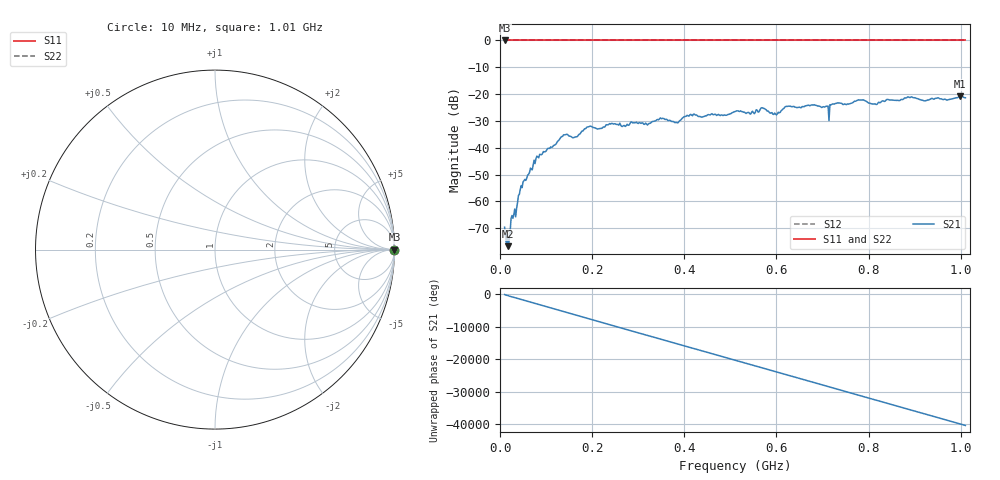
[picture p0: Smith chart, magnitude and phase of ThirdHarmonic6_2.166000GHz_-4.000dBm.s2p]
! 8/17/2025 1:50:46 AM
! C:\ANRITSUVNA\TEMP\TEMP.S2P
! CHANNEL.1
! TR.MEASUREMENT
! RAW.DATA
! RF.CORRECTION.OFF
! AVERAGING.OFF
! IF.BANDWIDTH: 5KHZ
! SWEEPTYPE:  FREQ.SWEEP(Linear)
! Reference Plane Port Info
! PORT:  PORT1  PORT2
! DISTANCE:  0  m  0  m
! TIME:  0  s  0  s
! PHASE.OFFSET:  0  deg.  0  deg.
! LOSS:  0  dB  0  dB
! REF.LOSS:  0  dB  0  dB
! REF.FREQ:  0  Hz  0  Hz
! Power Info
! POWER:  -20  dBm  -20  dBm
! EFF.POWER:  -20  dBm  -20  dBm
! SOURCE.ATTEN:  0  dB  0  dB
! TEST.ATTEN:  0  dB  0  dB
# GHZ S RI R 50.0
! FREQ.GHZ  S11RE  S11IM  S21RE  S21IM  S12RE  S12IM  S22RE  S22IM
!; PortSelection: Port_12
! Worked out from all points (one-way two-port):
!   501 points, 10 MHz to 1.01 GHz, reference 50 ohm
!   highest |S21| = -20.79 dB at 998 MHz (marker M1); lowest = -76.7 dB at 18 MHz (marker M2)
!   lowest |S11| = 0.0 dB at 10 MHz (marker M3)
!   |S11| at or under -10 dB: nowhere
!   |S22| runs from 0.0 to 0.0 dB; largest |S21 - S12| = 1.1
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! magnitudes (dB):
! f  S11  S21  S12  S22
! 10 MHz  0.0  -69.6  0.0  0.0
! 18 MHz  0.0  -76.7  0.0  0.0
! 28 MHz  0.0  -66.3  0.0  0.0
! 32 MHz  0.0  -62.8  0.0  0.0
! 48 MHz  0.0  -54.8  0.0  0.0
! 78 MHz  0.0  -44.0  0.0  0.0
! 136 MHz  0.0  -35.7  0.0  0.0
! 162 MHz  0.0  -36.0  0.0  0.0
! 178 MHz  0.0  -33.7  0.0  0.0
! 344 MHz  0.0  -29.6  0.0  0.0
! 384 MHz  0.0  -30.6  0.0  0.0
! 410 MHz  0.0  -28.2  0.0  0.0
! 510 MHz  0.0  -26.5  0.0  0.0
! 570 MHz  0.0  -25.1  0.0  0.0
! 598 MHz  0.0  -27.4  0.0  0.0
! 622 MHz  0.0  -24.6  0.0  0.0
! 678 MHz  0.0  -24.0  0.0  0.0
! 710 MHz  0.0  -24.6  0.0  0.0
! 732 MHz  0.0  -23.3  0.0  0.0
! 844 MHz  0.0  -22.1  0.0  0.0
! 998 MHz  0.0  -20.8  0.0  0.0
! 1.01 GHz  0.0  -21.3  0.0  0.0
